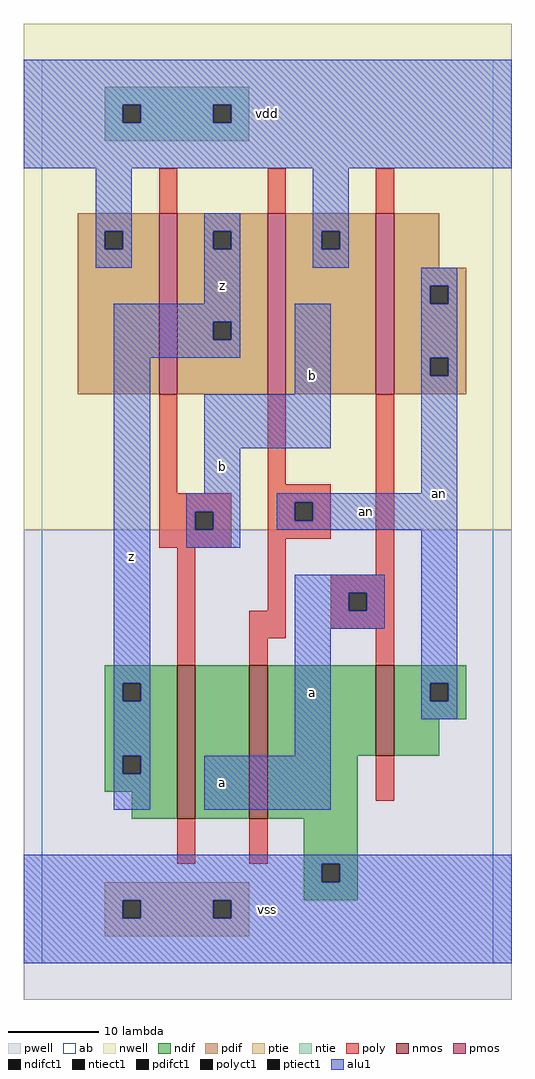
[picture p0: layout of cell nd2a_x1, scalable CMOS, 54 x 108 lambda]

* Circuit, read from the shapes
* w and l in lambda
.subckt nd2a_x1 a an b vdd vss z
M1 n1 b z vss nfet w=17 l=2
M2 vss an n1 vss nfet w=17 l=2
M3 an a vss vss nfet w=10 l=2
M4 z b vdd vdd pfet w=20 l=2
M5 vdd an z vdd pfet w=20 l=2
M6 an a vdd vdd pfet w=20 l=2
.ends

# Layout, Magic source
magic
tech scmos
<< ab >>
rect 0 0 50 100
<< nwell >>
rect -2 48 52 104
<< pwell >>
rect -2 -4 52 48
<< poly >>
rect 13 83 15 88
rect 25 83 27 88
rect 37 83 39 88
rect 13 52 15 63
rect 25 53 27 63
rect 13 50 21 52
rect 13 48 17 50
rect 19 48 21 50
rect 13 46 21 48
rect 25 51 32 53
rect 25 49 28 51
rect 30 49 32 51
rect 25 47 32 49
rect 15 33 17 46
rect 25 39 27 47
rect 37 43 39 63
rect 23 36 27 39
rect 32 41 39 43
rect 32 39 34 41
rect 36 39 39 41
rect 32 37 39 39
rect 23 33 25 36
rect 37 33 39 37
rect 37 18 39 23
rect 15 11 17 16
rect 23 11 25 16
<< ndif >>
rect 7 31 15 33
rect 7 29 9 31
rect 11 29 15 31
rect 7 23 15 29
rect 7 21 9 23
rect 11 21 15 23
rect 7 19 15 21
rect 10 16 15 19
rect 17 16 23 33
rect 25 23 37 33
rect 39 31 47 33
rect 39 29 43 31
rect 45 29 47 31
rect 39 27 47 29
rect 39 23 44 27
rect 25 16 35 23
rect 29 11 35 16
rect 29 9 31 11
rect 33 9 35 11
rect 29 7 35 9
<< pdif >>
rect 4 81 13 83
rect 4 79 7 81
rect 9 79 13 81
rect 4 63 13 79
rect 15 81 25 83
rect 15 79 19 81
rect 21 79 25 81
rect 15 71 25 79
rect 15 69 19 71
rect 21 69 25 71
rect 15 63 25 69
rect 27 81 37 83
rect 27 79 31 81
rect 33 79 37 81
rect 27 63 37 79
rect 39 77 44 83
rect 39 75 47 77
rect 39 73 43 75
rect 45 73 47 75
rect 39 67 47 73
rect 39 65 43 67
rect 45 65 47 67
rect 39 63 47 65
<< alu1 >>
rect -2 95 52 100
rect -2 93 9 95
rect 11 93 19 95
rect 21 93 52 95
rect -2 88 52 93
rect 6 81 10 88
rect 6 79 7 81
rect 9 79 10 81
rect 6 77 10 79
rect 18 81 22 83
rect 18 79 19 81
rect 21 79 22 81
rect 18 73 22 79
rect 30 81 34 88
rect 30 79 31 81
rect 33 79 34 81
rect 30 77 34 79
rect 42 75 46 77
rect 42 73 43 75
rect 45 73 46 75
rect 8 71 22 73
rect 8 69 19 71
rect 21 69 22 71
rect 8 67 22 69
rect 8 31 12 67
rect 28 63 32 73
rect 18 57 32 63
rect 42 67 46 73
rect 42 65 43 67
rect 45 65 46 67
rect 18 52 22 57
rect 42 52 46 65
rect 16 50 22 52
rect 16 48 17 50
rect 19 48 22 50
rect 26 51 46 52
rect 26 49 28 51
rect 30 49 46 51
rect 26 48 46 49
rect 16 46 22 48
rect 8 29 9 31
rect 11 29 12 31
rect 8 23 12 29
rect 28 41 38 43
rect 28 39 34 41
rect 36 39 38 41
rect 28 37 38 39
rect 28 23 32 37
rect 42 31 46 48
rect 42 29 43 31
rect 45 29 46 31
rect 42 27 46 29
rect 8 21 9 23
rect 11 21 12 23
rect 8 17 12 21
rect 18 17 32 23
rect -2 11 52 12
rect -2 9 31 11
rect 33 9 52 11
rect -2 7 52 9
rect -2 5 9 7
rect 11 5 19 7
rect 21 5 52 7
rect -2 0 52 5
<< ptie >>
rect 7 7 23 9
rect 7 5 9 7
rect 11 5 19 7
rect 21 5 23 7
rect 7 3 23 5
<< ntie >>
rect 7 95 23 97
rect 7 93 9 95
rect 11 93 19 95
rect 21 93 23 95
rect 7 91 23 93
<< nmos >>
rect 15 16 17 33
rect 23 16 25 33
rect 37 23 39 33
<< pmos >>
rect 13 63 15 83
rect 25 63 27 83
rect 37 63 39 83
<< polyct1 >>
rect 17 48 19 50
rect 28 49 30 51
rect 34 39 36 41
<< ndifct1 >>
rect 9 29 11 31
rect 9 21 11 23
rect 43 29 45 31
rect 31 9 33 11
<< ntiect1 >>
rect 9 93 11 95
rect 19 93 21 95
<< ptiect1 >>
rect 9 5 11 7
rect 19 5 21 7
<< pdifct1 >>
rect 7 79 9 81
rect 19 79 21 81
rect 19 69 21 71
rect 31 79 33 81
rect 43 73 45 75
rect 43 65 45 67
<< labels >>
rlabel alu1 20 20 20 20 6 a
rlabel alu1 10 45 10 45 6 z
rlabel alu1 20 55 20 55 6 b
rlabel alu1 20 75 20 75 6 z
rlabel alu1 25 6 25 6 6 vss
rlabel alu1 30 30 30 30 6 a
rlabel alu1 30 65 30 65 6 b
rlabel alu1 25 94 25 94 6 vdd
rlabel alu1 36 50 36 50 6 an
rlabel alu1 44 52 44 52 6 an
<< end >>
